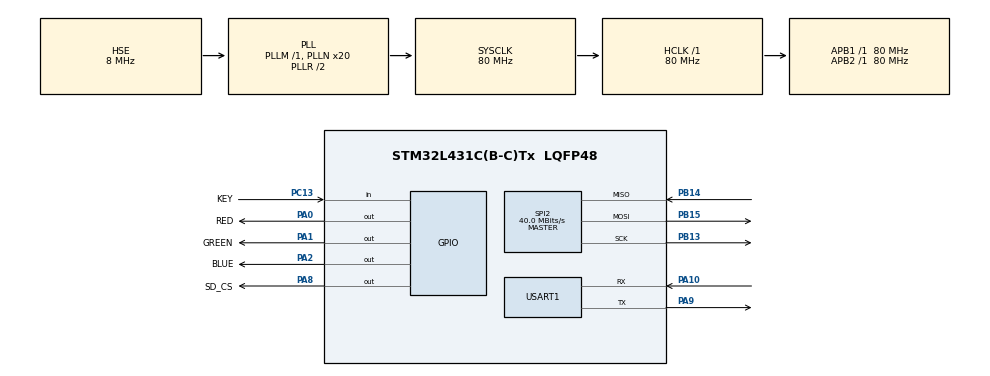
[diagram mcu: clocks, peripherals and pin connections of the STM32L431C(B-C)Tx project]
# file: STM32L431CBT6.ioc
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Mcu.Family=STM32L4
Mcu.Name=STM32L431C(B-C)Tx
Mcu.Package=LQFP48
NVIC.PriorityGroup=NVIC_PRIORITYGROUP_4
NVIC.USART1_IRQn=true\:0\:0\:false\:false\:true\:true\:true\:true
PA0.GPIO_Label=RED
PA0.GPIO_PuPd=GPIO_PULLUP
PA0.PinState=GPIO_PIN_SET
PA0.Signal=GPIO_Output
PA1.GPIO_Label=GREEN
PA1.GPIO_PuPd=GPIO_PULLUP
PA1.PinState=GPIO_PIN_SET
PA1.Signal=GPIO_Output
PA10.Mode=Asynchronous
PA10.Signal=USART1_RX
PA13\ (JTMS-SWDIO).Mode=Serial_Wire
PA13\ (JTMS-SWDIO).Signal=SYS_JTMS-SWDIO
PA14\ (JTCK-SWCLK).Mode=Serial_Wire
PA14\ (JTCK-SWCLK).Signal=SYS_JTCK-SWCLK
PA2.GPIO_Label=BLUE
PA2.GPIO_PuPd=GPIO_PULLUP
PA2.PinState=GPIO_PIN_SET
PA2.Signal=GPIO_Output
PA8.GPIO_Label=SD_CS
PA8.GPIO_PuPd=GPIO_PULLUP
PA8.GPIO_Speed=GPIO_SPEED_FREQ_VERY_HIGH
PA8.PinState=GPIO_PIN_SET
PA8.Signal=GPIO_Output
PA9.Mode=Asynchronous
PA9.Signal=USART1_TX
PB13.Mode=Full_Duplex_Master
PB13.Signal=SPI2_SCK
PB14.Mode=Full_Duplex_Master
PB14.Signal=SPI2_MISO
PB15.Mode=Full_Duplex_Master
PB15.Signal=SPI2_MOSI
PC13.GPIO_Label=KEY
PC13.GPIO_PuPd=GPIO_PULLUP
PC13.Signal=GPIO_Input
PH0-OSC_IN\ (PH0).Mode=HSE-External-Oscillator
PH0-OSC_IN\ (PH0).Signal=RCC_OSC_IN
PH1-OSC_OUT\ (PH1).Mode=HSE-External-Oscillator
PH1-OSC_OUT\ (PH1).Signal=RCC_OSC_OUT
ProjectManager.HeapSize=0x400
ProjectManager.StackSize=0x400
ProjectManager.TargetToolchain=MDK-ARM V5
RCC.ADCFreq_Value=32000000
RCC.AHBFreq_Value=80000000
RCC.APB1Freq_Value=80000000
RCC.APB1TimFreq_Value=80000000
RCC.APB2Freq_Value=80000000
RCC.APB2TimFreq_Value=80000000
RCC.CortexFreq_Value=80000000
RCC.HCLKFreq_Value=80000000
RCC.HSI48_VALUE=48000000
RCC.HSI_VALUE=16000000
RCC.LSE_VALUE=32768
RCC.MSI_VALUE=4000000
RCC.PLLN=20
RCC.PLLSourceVirtual=RCC_PLLSOURCE_HSE
RCC.SYSCLKFreq_VALUE=80000000
RCC.SYSCLKSource=RCC_SYSCLKSOURCE_PLLCLK
RCC.VCOOutputFreq_Value=160000000
SPI2.CalculateBaudRate=40.0 MBits/s
SPI2.DataSize=SPI_DATASIZE_8BIT
SPI2.Direction=SPI_DIRECTION_2LINES
SPI2.Mode=SPI_MODE_MASTER
SPI2.VirtualType=VM_MASTER
USART1.VirtualMode-Asynchronous=VM_ASYNC
board=custom

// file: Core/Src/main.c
/* USER CODE BEGIN Header */
/**
  ******************************************************************************
  * @file           : main.c
  * @brief          : Main program body
  ******************************************************************************
  * @attention
  *
  * Copyright (c) 2023 STMicroelectronics.
  * All rights reserved.
  *
  * This software is licensed under terms that can be found in the LICENSE file
  * in the root directory of this software component.
  * If no LICENSE file comes with this software, it is provided AS-IS.
  *
  ******************************************************************************
  */
/* USER CODE END Header */
#include "main.h"
#include "spi.h"
#include "usart.h"
#include "gpio.h"

/* USER CODE BEGIN Includes */
#include "BSP_GPIO.h"
#include "BSP_USART.h"
#include "malloc.h"
#include "MMC_SD.h"
/* USER CODE END Includes */

void SystemClock_Config(void);

/* USER CODE BEGIN 0 */

//读取SD卡的指定扇区的内容，并通过串口1输出
//sec：扇区物理地址编号
void SD_Read_Sectorx(u32 sec)
{
	u8 *buf;
	u16 i;
	buf=mymalloc(512);				//申请内存
	if(SD_ReadDisk(buf,sec,1)==0)	//读取0扇区的内容
	{
		printf("USART1 Sending Data...\r\n");
		printf("SECTOR 0 DATA:\r\n");
		for(i=0;i<512;i++)printf("%x ",buf[i]);//打印sec扇区数据
		printf("\r\nDATA ENDED\r\n");
		printf("USART1 Send Data Over!\r\n");
	}
	myfree(buf);//释放内存
}

/* USER CODE END 0 */

int main(void)
{

  /* USER CODE BEGIN 1 */
	u8 key;
	u8 key_mode=0;//key_mode=1支持连按 key_mode=0不支持连按
	u8 mode;
	u16 i=0;
	u32 sd_size;

  /* USER CODE END 1 */

  /* MCU Configuration--------------------------------------------------------*/

  /* Reset of all peripherals, Initializes the Flash interface and the Systick. */
  HAL_Init();

  /* Configure the system clock */
  SystemClock_Config();

  /* Initialize all configured peripherals */
  MX_GPIO_Init();
  MX_USART1_UART_Init();
  MX_SPI2_Init();
  /* USER CODE BEGIN 2 */
 	mem_init();
 	while(SD_Init())		//检测不到SD卡
	{
		printf("SD Card Error!\r\n");
		HAL_Delay(500);
		printf("Please Check! \r\n");
		HAL_Delay(500);
		HAL_GPIO_TogglePin(RED_GPIO_Port,RED_Pin);
	}
	printf("SD Card OK    ");
	sd_size=SD_GetSectorCount();//得到扇区数
	printf("SD Card Size:%5d MB",sd_size>>11);
	printf("\r\n\r\n");
  /* USER CODE END 2 */

  /* Infinite loop */
  /* USER CODE BEGIN WHILE */
  while (1)
  {
		if(key_mode==1)
		{key=1;}

		if(key&&(mode==0)&&(HAL_GPIO_ReadPin(KEY_GPIO_Port,KEY_Pin)==0))
		{
			key=0;
			mode=1;
 			SD_Read_Sectorx(0);
		}
		else if(HAL_GPIO_ReadPin(KEY_GPIO_Port,KEY_Pin)==1)
			key=1;

		i++;
		HAL_Delay(10);
		if(i==100)
		{
			HAL_GPIO_TogglePin(GREEN_GPIO_Port,GREEN_Pin);
			i=0;
		}
    /* USER CODE END WHILE */

  }
}

void SystemClock_Config(void)
{
  RCC_OscInitTypeDef RCC_OscInitStruct = {0};
  RCC_ClkInitTypeDef RCC_ClkInitStruct = {0};

  /** Configure the main internal regulator output voltage
  */
  if (HAL_PWREx_ControlVoltageScaling(PWR_REGULATOR_VOLTAGE_SCALE1) != HAL_OK)
  {
    Error_Handler();
  }

  /** Initializes the RCC Oscillators according to the specified parameters
  * in the RCC_OscInitTypeDef structure.
  */
  RCC_OscInitStruct.OscillatorType = RCC_OSCILLATORTYPE_HSE;
  RCC_OscInitStruct.HSEState = RCC_HSE_ON;
  RCC_OscInitStruct.PLL.PLLState = RCC_PLL_ON;
  RCC_OscInitStruct.PLL.PLLSource = RCC_PLLSOURCE_HSE;
  RCC_OscInitStruct.PLL.PLLM = 1;
  RCC_OscInitStruct.PLL.PLLN = 20;
  RCC_OscInitStruct.PLL.PLLP = RCC_PLLP_DIV7;
  RCC_OscInitStruct.PLL.PLLQ = RCC_PLLQ_DIV2;
  RCC_OscInitStruct.PLL.PLLR = RCC_PLLR_DIV2;
  if (HAL_RCC_OscConfig(&RCC_OscInitStruct) != HAL_OK)
  {
    Error_Handler();
  }

  /** Initializes the CPU, AHB and APB buses clocks
  */
  RCC_ClkInitStruct.ClockType = RCC_CLOCKTYPE_HCLK|RCC_CLOCKTYPE_SYSCLK
                              |RCC_CLOCKTYPE_PCLK1|RCC_CLOCKTYPE_PCLK2;
  RCC_ClkInitStruct.SYSCLKSource = RCC_SYSCLKSOURCE_PLLCLK;
  RCC_ClkInitStruct.AHBCLKDivider = RCC_SYSCLK_DIV1;
  RCC_ClkInitStruct.APB1CLKDivider = RCC_HCLK_DIV1;
  RCC_ClkInitStruct.APB2CLKDivider = RCC_HCLK_DIV1;

  if (HAL_RCC_ClockConfig(&RCC_ClkInitStruct, FLASH_LATENCY_4) != HAL_OK)
  {
    Error_Handler();
  }
}

void Error_Handler(void)
{
  __disable_irq();
  while (1)
  {
  }
}
